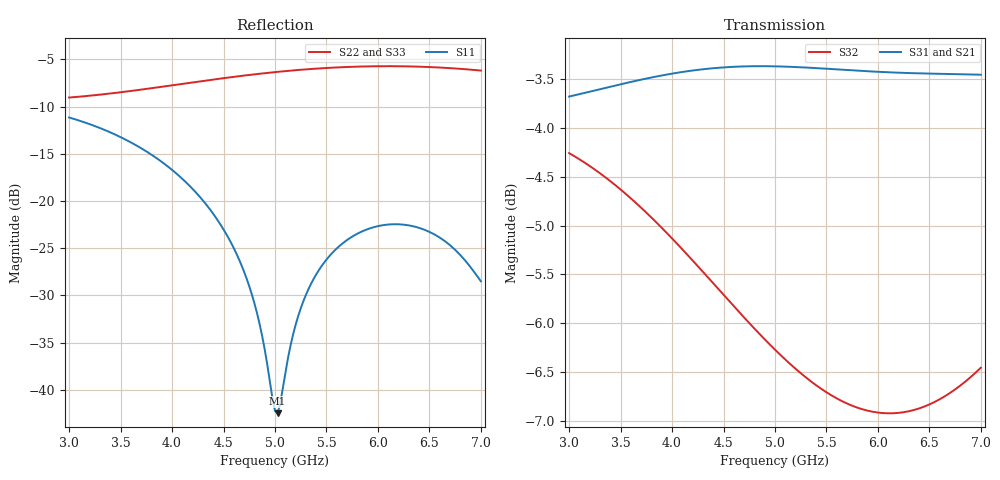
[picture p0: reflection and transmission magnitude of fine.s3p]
! yapnr rf: divider-osh-w-star-sched-fwd, footprint re-simulated (refine 2)
! spec sha256 29431923023cd9b52053ba022314b978b7e49c75d0edec580638c4f43fb7ae45
! 3 ports renormalized to 50 ohm, e^(+jwt) convention
# GHz S RI R 50
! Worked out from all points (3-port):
!   161 points, 3 GHz to 7 GHz, reference 50 ohm
!   strongest paths, dB at 3 GHz, 4 GHz, 5 GHz, 6 GHz, 7 GHz:
!     S31: -3.7, -3.4, -3.4, -3.4, -3.5
!     S21: -3.7, -3.4, -3.4, -3.4, -3.5
!     S32: -4.3, -5.1, -6.3, -6.9, -6.5
!   lowest |S11| = -42.5 dB at 5.025 GHz (marker M1), VSWR 1.02, Z = 49.5 + j0.577 ohm
!   |S11| at or under -10 dB: start of sweep to end of sweep
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3  -0.1011 0.2575  -0.3527 -0.5525  -0.3527 -0.5525
   -0.3527 -0.552  0.3039 0.1793  -0.5795 -0.1989
   -0.3527 -0.552  -0.5795 -0.1989  0.3039 0.1793
3.625  0.00228 0.2007  -0.5759 -0.3369  -0.5759 -0.3369
       -0.5755 -0.337  0.3795 -0.0571  -0.5593 0.1506
       -0.5755 -0.337  -0.5593 0.1506  0.3795 -0.0571
4.425  0.0396 0.0716  -0.6736 0.0668  -0.6736 0.0668
       -0.6743 0.0656  0.2608 -0.3559  -0.289 0.4366
       -0.6743 0.0656  -0.289 0.4366  0.2608 -0.3559
4.775  0.0183 0.0263  -0.6298 0.2502  -0.6298 0.2502
       -0.6315 0.2491  0.1468 -0.4427  -0.1422 0.479
       -0.6315 0.2491  -0.1422 0.479  0.1468 -0.4427
5  -0.00229 0.00737  -0.5744 0.3586  -0.5744 0.3586
   -0.5767 0.358  0.0614 -0.4771  -0.051 0.4831
   -0.5767 0.358  -0.051 0.4831  0.0614 -0.4771
5.025  -0.00474 0.00583  -0.567 0.37  -0.567 0.37
       -0.5694 0.3695  0.0515 -0.4798  -0.0412 0.4826
       -0.5694 0.3695  -0.0412 0.4826  0.0515 -0.4798
5.3  -0.0315 -0.00393  -0.4716 0.4838  -0.4716 0.4838
     -0.4744 0.4842  -0.0593 -0.4938  0.0613 0.4661
     -0.4744 0.4842  0.0613 0.4661  -0.0593 -0.4938
5.725  -0.0634 0.0028  -0.282 0.6108  -0.282 0.6108
       -0.2846 0.6129  -0.2259 -0.4603  0.1987 0.4095
       -0.2846 0.6129  0.1987 0.4095  -0.2259 -0.4603
6.4  -0.066 0.0289  0.0738 0.6655  0.0738 0.6655
     0.0743 0.6691  -0.4235 -0.2914  0.3672 0.2656
     0.0743 0.6691  0.3672 0.2656  -0.4235 -0.2914
7  -0.0357 0.0116  0.3801 0.5507  0.3801 0.5507
   0.3834 0.552  -0.4837 -0.0798  0.4679 0.0848
   0.3834 0.552  0.4679 0.0848  -0.4837 -0.0798
